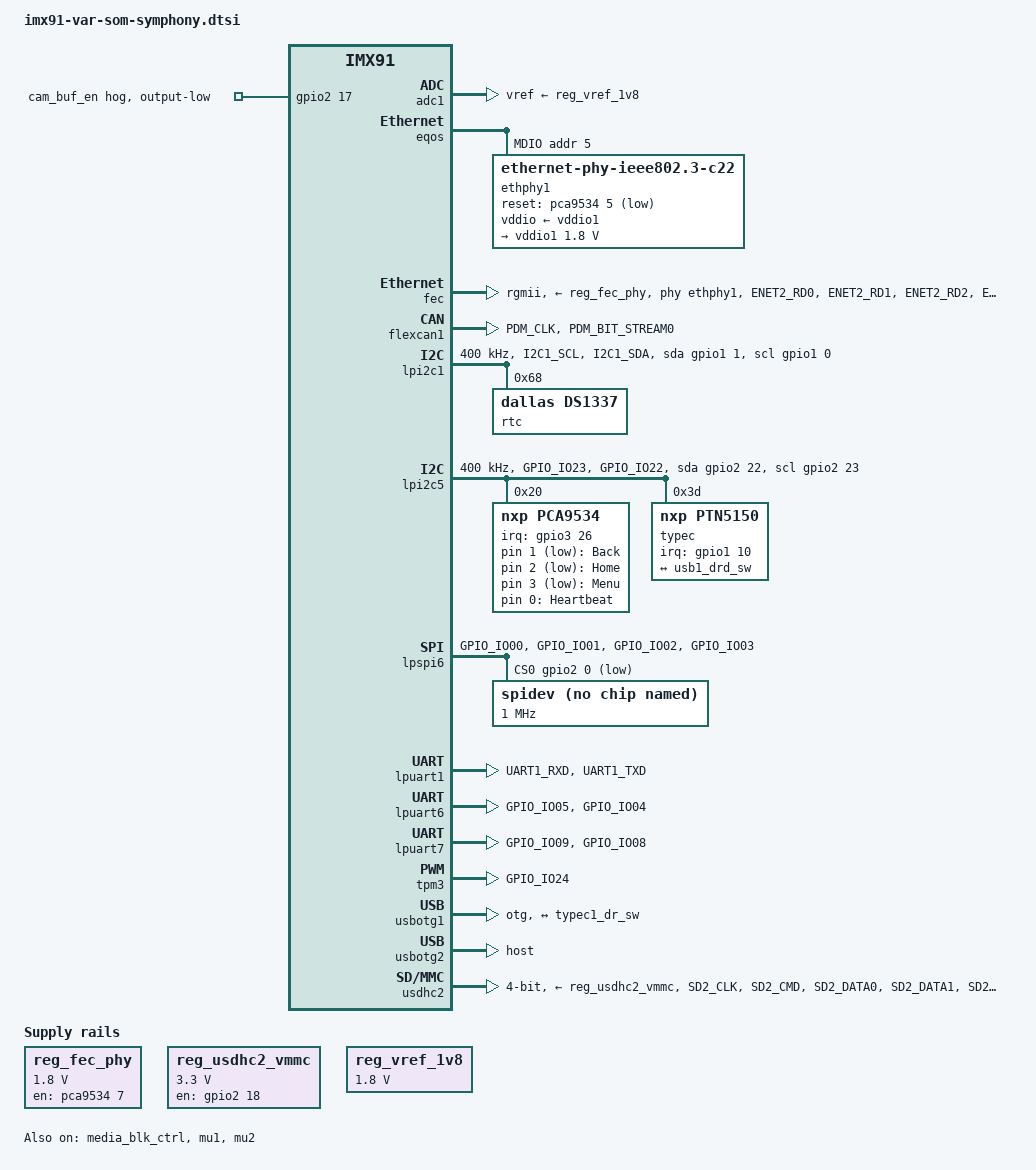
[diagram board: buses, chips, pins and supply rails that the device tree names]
// SPDX-License-Identifier: (GPL-2.0+ OR MIT)
/*
 * Copyright 2024 NXP
 * Copyright 2025 Variscite Ltd.
 */

/ {
	aliases {
		gpio4 = &pca9534;
		ethernet0 = &eqos;
		ethernet1 = &fec;
	};

	chosen {
		stdout-path = &lpuart1;
	};

	gpio-keys {
		compatible = "gpio-keys";
		status = "okay";

		back {
			label = "Back";
			gpios = <&pca9534 1 GPIO_ACTIVE_LOW>;
			linux,code = <KEY_BACK>;
			wakeup-source;
		};

		home {
			label = "Home";
			gpios = <&pca9534 2 GPIO_ACTIVE_LOW>;
			linux,code = <KEY_HOME>;
			wakeup-source;
		};

		menu {
			label = "Menu";
			gpios = <&pca9534 3 GPIO_ACTIVE_LOW>;
			linux,code = <KEY_MENU>;
			wakeup-source;
		};
	};

	leds {
		compatible = "gpio-leds";
		status = "okay";

		heartbeat {
			label = "Heartbeat";
			gpios = <&pca9534 0 GPIO_ACTIVE_HIGH>;
			linux,default-trigger = "heartbeat";
		};
	};

	/*
	 * Needed only for Symphony <= v1.5
	 */
	reg_fec_phy: regulator-fec-phy {
		compatible = "regulator-fixed";
		regulator-name = "fec-phy";
		regulator-min-microvolt = <1800000>;
		regulator-max-microvolt = <1800000>;
		regulator-enable-ramp-delay = <20000>;
		gpio = <&pca9534 7 GPIO_ACTIVE_HIGH>;
		enable-active-high;
		regulator-always-on;
	};

	reg_usdhc2_vmmc: regulator-usdhc2 {
		compatible = "regulator-fixed";
		pinctrl-names = "default";
		pinctrl-0 = <&pinctrl_reg_usdhc2_vmmc>;
		regulator-name = "VSD_3V3";
		regulator-min-microvolt = <3300000>;
		regulator-max-microvolt = <3300000>;
		gpio = <&gpio2 18 GPIO_ACTIVE_HIGH>;
		off-on-delay-us = <20000>;
		enable-active-high;
	};

	reg_vref_1v8: regulator-adc-vref {
		compatible = "regulator-fixed";
		regulator-name = "vref_1v8";
		regulator-min-microvolt = <1800000>;
		regulator-max-microvolt = <1800000>;
	};

	reserved-memory {
		#address-cells = <2>;
		#size-cells = <2>;
		ranges;

		linux,cma {
			compatible = "shared-dma-pool";
			reusable;
			alloc-ranges = <0 0x80000000 0 0x40000000>;
			size = <0 0x10000000>;
			linux,cma-default;
		};

		ele_reserved: ele-reserved@95f00000 {
			compatible = "shared-dma-pool";
			reg = <0 0x95f00000 0 0x100000>;
			no-map;
		};
	};
};

&adc1 {
	vref-supply = <&reg_vref_1v8>;
	status = "okay";
};

/* Use external instead of internal RTC*/
&bbnsm_rtc {
	status = "disabled";
};

&ele_fw2 {
	memory-region = <&ele_reserved>;
};

&eqos {
	mdio {
		ethphy1: ethernet-phy@5 {
			compatible = "ethernet-phy-ieee802.3-c22";
			reg = <5>;
			qca,disable-smarteee;
			eee-broken-1000t;
			reset-gpios = <&pca9534 5 GPIO_ACTIVE_LOW>;
			reset-assert-us = <10000>;
			reset-deassert-us = <20000>;
			vddio-supply = <&vddio1>;

			vddio1: vddio-regulator {
				regulator-min-microvolt = <1800000>;
				regulator-max-microvolt = <1800000>;
			};
		};
	};
};

&fec {
	pinctrl-names = "default", "sleep";
	pinctrl-0 = <&pinctrl_fec>;
	pinctrl-1 = <&pinctrl_fec_sleep>;
	phy-mode = "rgmii";
	phy-handle = <&ethphy1>;
	phy-supply = <&reg_fec_phy>;
	status = "okay";
};

&flexcan1 {
	pinctrl-names = "default";
	pinctrl-0 = <&pinctrl_flexcan1>;
	status = "okay";
};

&gpio2 {
	cam_buf_hog {
		gpio-hog;
		gpios = <17 GPIO_ACTIVE_HIGH>;
		output-low;
		line-name = "cam_buf_en";
	};
};

&iomuxc {
	pinctrl_captouch: captouchgrp {
		fsl,pins = <
			MX91_PAD_GPIO_IO25__GPIO2_IO25			0x31e
		>;
	};

	pinctrl_csi0: csi0grp {
		fsl,pins = <
			MX91_PAD_GPIO_IO17__GPIO2_IO17			0x31e
			MX91_PAD_GPIO_IO11__GPIO2_IO11			0x31e
			MX91_PAD_CCM_CLKO2__GPIO3_IO27			0x31e
		>;
	};

	pinctrl_extcon: extcongrp {
		fsl,pins = <
			MX91_PAD_PDM_BIT_STREAM1__GPIO1_IO10		0x31e
		>;
	};

	pinctrl_fec: fecgrp {
		fsl,pins = <
			MX91_PAD_ENET2_RD0__ENET2_RGMII_RD0		0x57e
			MX91_PAD_ENET2_RD1__ENET2_RGMII_RD1		0x57e
			MX91_PAD_ENET2_RD2__ENET2_RGMII_RD2		0x57e
			MX91_PAD_ENET2_RD3__ENET2_RGMII_RD3		0x57e
			MX91_PAD_ENET2_RXC__ENET2_RGMII_RXC		0x5fe
			MX91_PAD_ENET2_RX_CTL__ENET2_RGMII_RX_CTL	0x57e
			MX91_PAD_ENET2_TD0__ENET2_RGMII_TD0		0x57e
			MX91_PAD_ENET2_TD1__ENET2_RGMII_TD1		0x57e
			MX91_PAD_ENET2_TD2__ENET2_RGMII_TD2		0x57e
			MX91_PAD_ENET2_TD3__ENET2_RGMII_TD3		0x57e
			MX91_PAD_ENET2_TXC__ENET2_RGMII_TXC		0x5fe
			MX91_PAD_ENET2_TX_CTL__ENET2_RGMII_TX_CTL	0x57e
		>;
	};

	pinctrl_fec_sleep: fecsleepgrp {
		fsl,pins = <
			MX91_PAD_ENET2_RD0__GPIO4_IO24			0x51e
			MX91_PAD_ENET2_RD1__GPIO4_IO25			0x51e
			MX91_PAD_ENET2_RD2__GPIO4_IO26			0x51e
			MX91_PAD_ENET2_RD3__GPIO4_IO27			0x51e
			MX91_PAD_ENET2_RXC__GPIO4_IO23                  0x51e
			MX91_PAD_ENET2_RX_CTL__GPIO4_IO22		0x51e
			MX91_PAD_ENET2_TD0__GPIO4_IO19			0x51e
			MX91_PAD_ENET2_TD1__GPIO4_IO18			0x51e
			MX91_PAD_ENET2_TD2__GPIO4_IO17			0x51e
			MX91_PAD_ENET2_TD3__GPIO4_IO16			0x51e
			MX91_PAD_ENET2_TXC__GPIO4_IO21                  0x51e
			MX91_PAD_ENET2_TX_CTL__GPIO4_IO20               0x51e
		>;
	};

	pinctrl_flexcan1: flexcan1grp {
		fsl,pins = <
			MX91_PAD_PDM_CLK__CAN1_TX			0x139e
			MX91_PAD_PDM_BIT_STREAM0__CAN1_RX		0x139e
		>;
	};

	pinctrl_lpi2c1: lpi2c1grp {
		fsl,pins = <
			MX91_PAD_I2C1_SCL__LPI2C1_SCL			0x40000b9e
			MX91_PAD_I2C1_SDA__LPI2C1_SDA			0x40000b9e
		>;
	};

	pinctrl_lpi2c1_gpio: lpi2c1grp-gpio {
		fsl,pins = <
			MX91_PAD_I2C1_SCL__GPIO1_IO0			0x31e
			MX91_PAD_I2C1_SDA__GPIO1_IO1			0x31e
		>;
	};

	pinctrl_lpi2c5: lpi2c5grp {
		fsl,pins = <
			MX91_PAD_GPIO_IO23__LPI2C5_SCL			0x40000b9e
			MX91_PAD_GPIO_IO22__LPI2C5_SDA			0x40000b9e
		>;
	};

	pinctrl_lpi2c5_gpio: lpi2c5grp-gpio {
		fsl,pins = <
			MX91_PAD_GPIO_IO23__GPIO2_IO23			0x31e
			MX91_PAD_GPIO_IO22__GPIO2_IO22			0x31e
		>;
	};

	pinctrl_lpspi6: lpspi6grp {
		fsl,pins = <
			MX91_PAD_GPIO_IO00__GPIO2_IO0			0x31e
			MX91_PAD_GPIO_IO01__LPSPI6_SIN			0x31e
			MX91_PAD_GPIO_IO02__LPSPI6_SOUT			0x31e
			MX91_PAD_GPIO_IO03__LPSPI6_SCK			0x31e
		>;
	};

	pinctrl_pca9534: pca9534grp {
		fsl,pins = <
			MX91_PAD_CCM_CLKO1__GPIO3_IO26			0x31e
		>;
	};

	pinctrl_uart1: uart1grp {
		fsl,pins = <
			MX91_PAD_UART1_RXD__LPUART1_RX			0x31e
			MX91_PAD_UART1_TXD__LPUART1_TX			0x31e
		>;
	};

	pinctrl_uart6: uart6grp {
		fsl,pins = <
			MX91_PAD_GPIO_IO05__LPUART6_RX			0x31e
			MX91_PAD_GPIO_IO04__LPUART6_TX			0x31e
		>;
	};

	pinctrl_uart7: uart7grp {
		fsl,pins = <
			MX91_PAD_GPIO_IO09__LPUART7_RX			0x31e
			MX91_PAD_GPIO_IO08__LPUART7_TX			0x31e
		>;
	};

	pinctrl_reg_usdhc2_vmmc: regusdhc2vmmcgrp {
		fsl,pins = <
			MX91_PAD_GPIO_IO18__GPIO2_IO18			0x31e
		>;
	};

	pinctrl_tpm3: tpm3grp {
		fsl,pins = <
			MX91_PAD_GPIO_IO24__TPM3_CH3			0x51e
		>;
	};

	pinctrl_usdhc2: usdhc2grp {
		fsl,pins = <
			MX91_PAD_SD2_CLK__USDHC2_CLK			0x1582
			MX91_PAD_SD2_CMD__USDHC2_CMD			0x1382
			MX91_PAD_SD2_DATA0__USDHC2_DATA0		0x1382
			MX91_PAD_SD2_DATA1__USDHC2_DATA1		0x1382
			MX91_PAD_SD2_DATA2__USDHC2_DATA2		0x1382
			MX91_PAD_SD2_DATA3__USDHC2_DATA3		0x1382
			MX91_PAD_SD2_VSELECT__USDHC2_VSELECT		0x51e
		>;
	};

	pinctrl_usdhc2_100mhz: usdhc2-100mhzgrp {
		fsl,pins = <
			MX91_PAD_SD2_CLK__USDHC2_CLK			0x158e
			MX91_PAD_SD2_CMD__USDHC2_CMD			0x138e
			MX91_PAD_SD2_DATA0__USDHC2_DATA0		0x138e
			MX91_PAD_SD2_DATA1__USDHC2_DATA1		0x138e
			MX91_PAD_SD2_DATA2__USDHC2_DATA2		0x138e
			MX91_PAD_SD2_DATA3__USDHC2_DATA3		0x138e
			MX91_PAD_SD2_VSELECT__USDHC2_VSELECT		0x51e
		>;
	};

	pinctrl_usdhc2_200mhz: usdhc2-200mhzgrp {
		fsl,pins = <
			MX91_PAD_SD2_CLK__USDHC2_CLK			0x15fe
			MX91_PAD_SD2_CMD__USDHC2_CMD			0x13fe
			MX91_PAD_SD2_DATA0__USDHC2_DATA0		0x13fe
			MX91_PAD_SD2_DATA1__USDHC2_DATA1		0x13fe
			MX91_PAD_SD2_DATA2__USDHC2_DATA2		0x13fe
			MX91_PAD_SD2_DATA3__USDHC2_DATA3		0x13fe
			MX91_PAD_SD2_VSELECT__USDHC2_VSELECT		0x51e
		>;
	};

	pinctrl_usdhc2_sleep: usdhc2grpsleep {
		fsl,pins = <
			MX91_PAD_SD2_CLK__GPIO3_IO1			0x51e
			MX91_PAD_SD2_CMD__GPIO3_IO2			0x51e
			MX91_PAD_SD2_DATA0__GPIO3_IO3			0x51e
			MX91_PAD_SD2_DATA1__GPIO3_IO4			0x51e
			MX91_PAD_SD2_DATA2__GPIO3_IO5			0x51e
			MX91_PAD_SD2_DATA3__GPIO3_IO6			0x51e
			MX91_PAD_SD2_VSELECT__GPIO3_IO19		0x51e
		>;
	};

	pinctrl_usdhc2_gpio: usdhc2gpiogrp {
		fsl,pins = <
			MX91_PAD_SD2_CD_B__GPIO3_IO0			0x31e
		>;
	};

	pinctrl_usdhc2_gpio_sleep: usdhc2gpiogrpsleep {
		fsl,pins = <
			MX91_PAD_SD2_CD_B__GPIO3_IO0			0x51e
		>;
	};
};

&lpi2c1 {
	#address-cells = <1>;
	#size-cells = <0>;
	clock-frequency = <400000>;
	pinctrl-names = "default", "sleep", "gpio";
	pinctrl-0 = <&pinctrl_lpi2c1>;
	pinctrl-1 = <&pinctrl_lpi2c1_gpio>;
	pinctrl-2 = <&pinctrl_lpi2c1_gpio>;
	scl-gpios = <&gpio1 0 GPIO_ACTIVE_HIGH>;
	sda-gpios = <&gpio1 1 GPIO_ACTIVE_HIGH>;
	status = "okay";

	/* Capacitive touch controller */
	ft5x06_ts: ft5x06_ts@38 {
		compatible = "edt,edt-ft5206";
		reg = <0x38>;
		pinctrl-names = "default";
		pinctrl-0 = <&pinctrl_captouch>;
		interrupt-parent = <&gpio2>;
		interrupts = <25 IRQ_TYPE_EDGE_FALLING>;
		touchscreen-size-x = <800>;
		touchscreen-size-y = <480>;
		touchscreen-inverted-x;
		touchscreen-inverted-y;
		wakeup-source;
		status = "disabled";
	};

	/* DS1337 RTC module */
	rtc@68 {
		status = "okay";
		compatible = "dallas,ds1337";
		reg = <0x68>;
	};
};

&lpi2c5 {
	#address-cells = <1>;
	#size-cells = <0>;
	clock-frequency = <400000>;
	pinctrl-names = "default", "sleep", "gpio";
	pinctrl-0 = <&pinctrl_lpi2c5>;
	pinctrl-1 = <&pinctrl_lpi2c5_gpio>;
	pinctrl-2 = <&pinctrl_lpi2c5_gpio>;
	scl-gpios = <&gpio2 23 GPIO_ACTIVE_HIGH>;
	sda-gpios = <&gpio2 22 GPIO_ACTIVE_HIGH>;
	status = "okay";

	pca9534: gpio@20 {
		status = "okay";
		compatible = "nxp,pca9534";
		reg = <0x20>;
		gpio-controller;
		pinctrl-names = "default";
		pinctrl-0 = <&pinctrl_pca9534>;
		interrupt-parent = <&gpio3>;
		interrupts = <26 IRQ_TYPE_EDGE_FALLING>;
		#gpio-cells = <2>;
		wakeup-source;
	};

	/* USB Type-C Controller */
	typec@3d {
		compatible = "nxp,ptn5150";
		pinctrl-names = "default";
		pinctrl-0 = <&pinctrl_extcon>;
		reg = <0x3d>;
		interrupt-parent = <&gpio1>;
		interrupts = <10 IRQ_TYPE_NONE>;
		irq-is-id-quirk;
		status ="okay";

		port {
			typec1_dr_sw: endpoint {
				remote-endpoint = <&usb1_drd_sw>;
			};
		};
	};
};

&lpspi6 {
	pinctrl-names = "default";
	pinctrl-0 = <&pinctrl_lpspi6>;
	cs-gpios = <&gpio2 0 GPIO_ACTIVE_LOW>;
	status = "okay";

	/* Test SPI device */
	spidev@0 {
		reg = <0>;
		compatible = "var,spidev";
		spi-max-frequency = <1000000>;
		status = "okay";
	};
};

/* Console */
&lpuart1 {
	pinctrl-names = "default";
	pinctrl-0 = <&pinctrl_uart1>;
	status = "okay";
};

/* J18.7, J18.9 */
&lpuart6 {
	pinctrl-names = "default";
	pinctrl-0 = <&pinctrl_uart6>;
	status = "okay";
};

/* J18.3, J18.5 */
&lpuart7 {
	pinctrl-names = "default";
	pinctrl-0 = <&pinctrl_uart7>;
	status = "okay";
};

&media_blk_ctrl {
	status = "okay";
};

&mu1 {
	status = "okay";
};

&mu2 {
	status = "okay";
};

&tpm3 {
	pinctrl-0 = <&pinctrl_tpm3>;
	pinctrl-names = "default";
	status = "okay";
};

&usbotg1 {
	dr_mode = "otg";
	hnp-disable;
	srp-disable;
	adp-disable;
	usb-role-switch;
	disable-over-current;
	samsung,picophy-pre-emp-curr-control = <3>;
	samsung,picophy-dc-vol-level-adjust = <7>;
	status = "okay";

	port {
		usb1_drd_sw: endpoint {
			remote-endpoint = <&typec1_dr_sw>;
		};
	};
};

&usbotg2 {
	disable-over-current;
	dr_mode = "host";
	status = "okay";
};

/* SD */
&usdhc2 {
	pinctrl-names = "default", "state_100mhz", "state_200mhz", "sleep";
	pinctrl-0 = <&pinctrl_usdhc2>, <&pinctrl_usdhc2_gpio>;
	pinctrl-1 = <&pinctrl_usdhc2_100mhz>, <&pinctrl_usdhc2_gpio>;
	pinctrl-2 = <&pinctrl_usdhc2_200mhz>, <&pinctrl_usdhc2_gpio>;
	pinctrl-3 = <&pinctrl_usdhc2_sleep>, <&pinctrl_usdhc2_gpio_sleep>;
	cd-gpios = <&gpio3 00 GPIO_ACTIVE_LOW>;
	fsl,cd-gpio-wakeup-disable;
	vmmc-supply = <&reg_usdhc2_vmmc>;
	bus-width = <4>;
	status = "okay";
	no-sdio;
	no-mmc;
};
